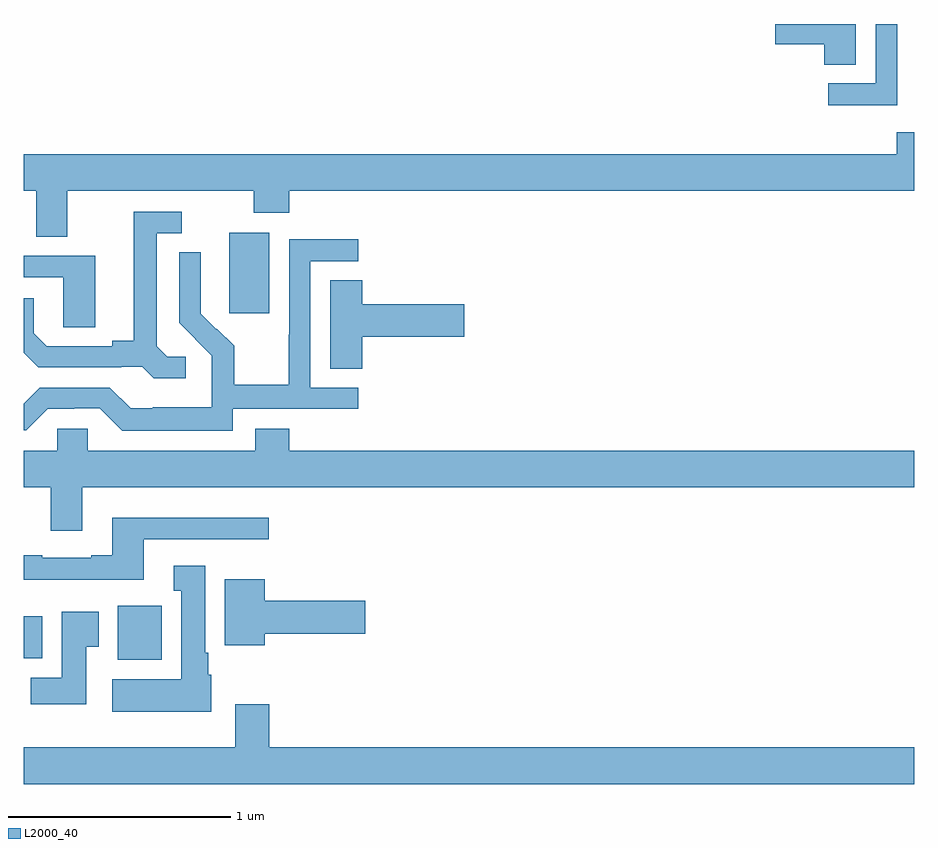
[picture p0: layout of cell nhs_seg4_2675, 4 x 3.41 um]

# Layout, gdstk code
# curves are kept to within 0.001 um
import gdstk
lib = gdstk.Library(unit=1e-6, precision=1e-09)
def R(c, l, rs):  # rectangles x0, y0, x1, y1
    for r in rs: c.add(gdstk.rectangle(r[:2], r[2:], *l))
def P(c, l, *ps):  # polygons
    for p in ps: c.add(gdstk.Polygon(p, *l))
L2000_40 = (2000, 40)

nhs_seg4_2675 = lib.new_cell('nhs_seg4_2675')
R(nhs_seg4_2675, L2000_40, [(251.423,796.046,251.62,796.288), (251,796.052,251.083,796.24), (251.924,797.601,252.103,797.962)])
P(nhs_seg4_2675, L2000_40, [(254.737,798.9),(254.376,798.9),(254.376,798.809),(254.594,798.809),(254.594,798.718),(254.737,798.718)],
  [(254.922,798.9),(254.826,798.9),(254.826,798.633),(254.613,798.633),(254.613,798.535),(254.922,798.535)],
  [(251.197,798.152),(252.034,798.152),(252.034,798.053),(252.194,798.053),(252.194,798.152),(255,798.152),(255,798.415),(254.921,798.415),(254.921,798.316),(251,798.316),(251,798.152),(251.057,798.152),(251.057,797.944),(251.197,797.944)],
  [(251.728,797.406),(251.646,797.406),(251.599,797.453),(251.599,797.961),(251.71,797.961),(251.71,798.057),(251.495,798.057),(251.495,797.477),(251.399,797.477),(251.399,797.454),(251.104,797.454),(251.047,797.511),(251.047,797.668),(251,797.668),(251,797.424),(251.066,797.358),(251.438,797.358),(251.438,797.361),(251.532,797.361),(251.584,797.309),(251.728,797.309)],
  [(251.94,797.172),(252.502,797.172),(252.502,797.268),(252.288,797.268),(252.288,797.835),(252.502,797.835),(252.502,797.934),(252.192,797.934),(252.192,797.504),(252.19,797.504),(252.19,797.281),(251.945,797.281),(251.945,797.455),(251.868,797.532),(251.865,797.529),(251.795,797.6),(251.796,797.876),(251.7,797.876),(251.7,797.558),(251.846,797.41),(251.846,797.313),(251.844,797.313),(251.844,797.179),(251.581,797.179),(251.581,797.175),(251.481,797.175),(251.388,797.268),(251.073,797.268),(251,797.195),(251,797.076),(251.013,797.076),(251.109,797.172),(251.228,797.172),(251.228,797.175),(251.343,797.175),(251.443,797.075),(251.94,797.075)],
  [(251.323,797.859),(251,797.859),(251,797.763),(251.178,797.763),(251.178,797.539),(251.323,797.539)],
  [(252.521,797.495),(252.979,797.495),(252.979,797.642),(252.521,797.642),(252.521,797.75),(252.377,797.75),(252.377,797.353),(252.521,797.353)],
  [(251.263,796.82),(255,796.82),(255,796.984),(252.194,796.984),(252.194,797.083),(252.041,797.083),(252.041,796.984),(251.289,796.984),(251.289,797.082),(251.151,797.082),(251.151,796.984),(251,796.984),(251,796.82),(251.123,796.82),(251.123,796.626),(251.263,796.626)],
  [(251.539,796.587),(252.1,796.587),(252.1,796.684),(251.399,796.684),(251.399,796.516),(251.303,796.516),(251.303,796.503),(251.083,796.503),(251.083,796.516),(251,796.516),(251,796.406),(251.539,796.406)],
  [(251.842,795.978),(251.83,795.978),(251.83,796.078),(251.815,796.078),(251.815,796.468),(251.675,796.468),(251.675,796.355),(251.708,796.355),(251.708,795.958),(251.399,795.958),(251.399,795.812),(251.842,795.812)],
  [(252.082,796.163),(252.535,796.163),(252.535,796.31),(252.082,796.31),(252.082,796.408),(251.903,796.408),(251.903,796.112),(252.082,796.112)],
  [(251.281,796.105),(251.338,796.105),(251.338,796.261),(251.171,796.261),(251.171,795.964),(251.032,795.964),(251.032,795.846),(251.281,795.846)],
  [(255,795.652),(252.104,795.652),(252.104,795.847),(251.951,795.847),(251.951,795.652),(251,795.652),(251,795.488),(255,795.488)])

lib.write_gds('nhs_seg4_2675.gds')
